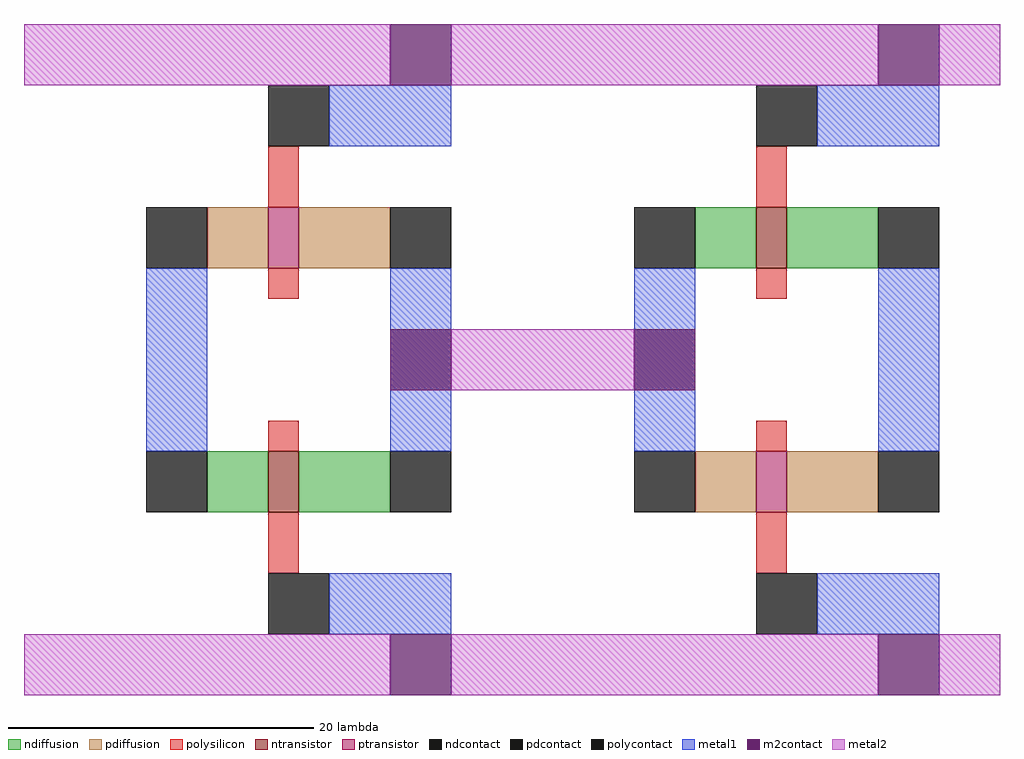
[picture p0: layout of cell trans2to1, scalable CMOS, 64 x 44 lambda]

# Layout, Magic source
magic
tech scmos
<< metal2 >>
rect -4 40 0 44
rect 28 40 32 44
rect 24 20 36 24
rect -4 0 0 4
rect 28 0 32 4
<< m2contact >>
rect 20 20 24 24
rect 36 20 40 24
use tansGate  tansGate_0
transform 1 0 0 0 1 4
box 0 -4 28 40
use tansGate  tansGate_1
transform 1 0 32 0 -1 40
box 0 -4 28 40
<< end >>

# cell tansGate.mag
magic
tech scmos
<< polysilicon >>
rect 12 28 14 32
rect 12 22 14 24
rect 12 12 14 14
rect 12 4 14 8
<< ndiffusion >>
rect 8 8 12 12
rect 14 8 20 12
<< pdiffusion >>
rect 8 24 12 28
rect 14 24 20 28
<< metal1 >>
rect 16 32 24 36
rect 4 12 8 24
rect 20 12 24 24
rect 16 0 24 4
<< metal2 >>
rect 0 36 20 40
rect 24 36 28 40
rect 0 -4 20 0
rect 24 -4 28 0
<< ntransistor >>
rect 12 8 14 12
<< ptransistor >>
rect 12 24 14 28
<< polycontact >>
rect 12 32 16 36
rect 12 0 16 4
<< ndcontact >>
rect 4 8 8 12
rect 20 8 24 12
<< pdcontact >>
rect 4 24 8 28
rect 20 24 24 28
<< m2contact >>
rect 20 36 24 40
rect 20 -4 24 0
<< end >>
